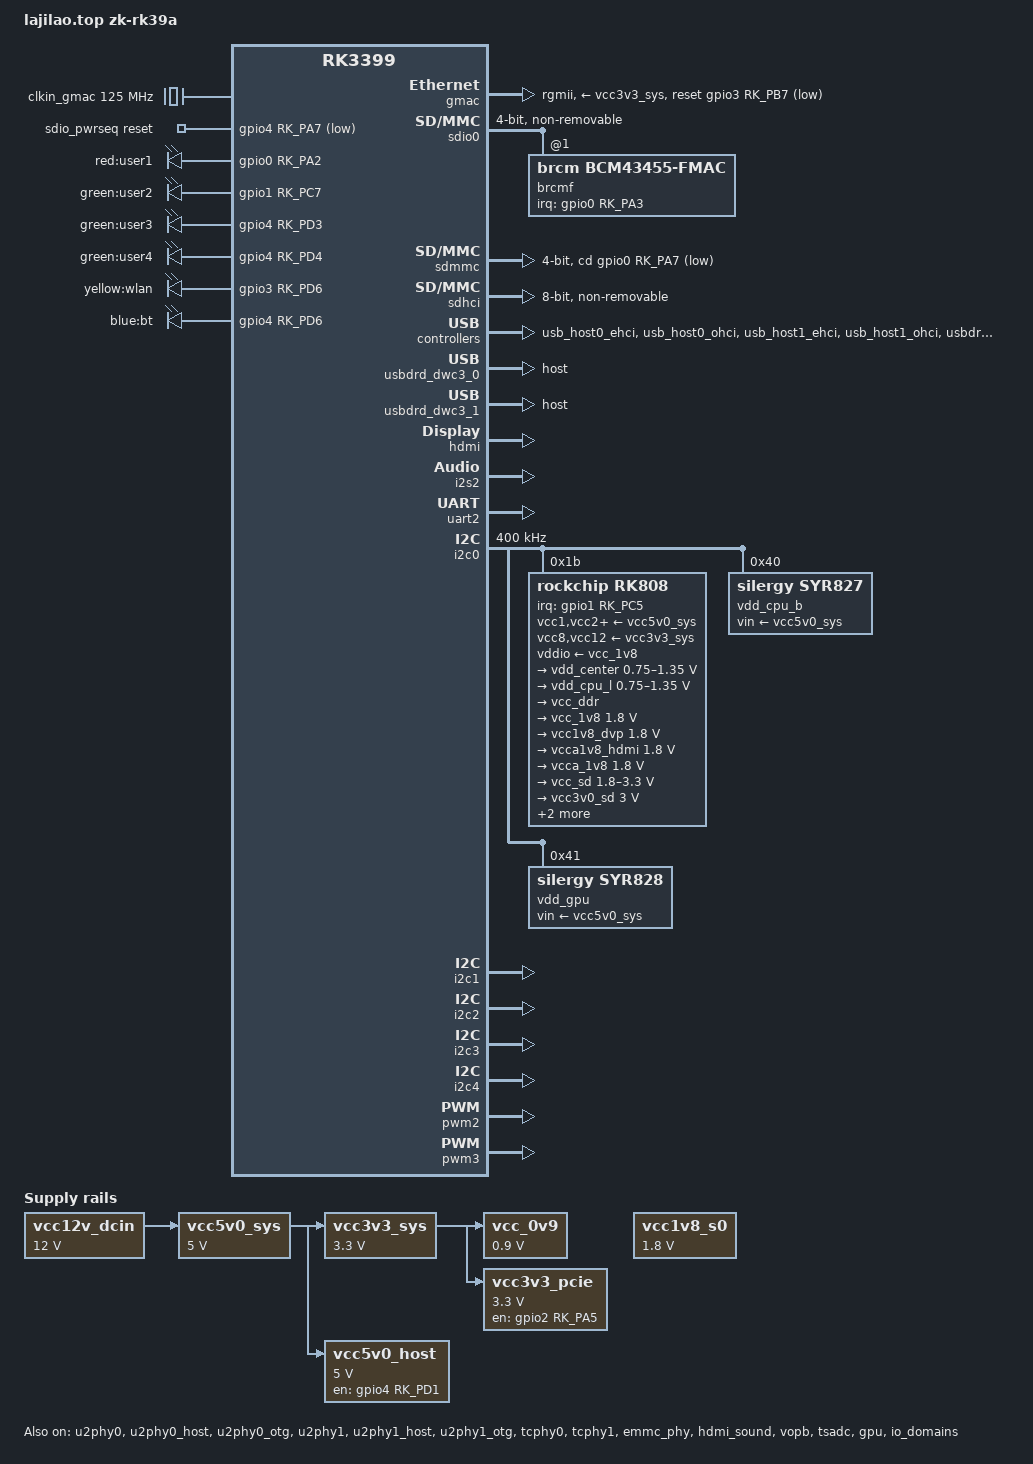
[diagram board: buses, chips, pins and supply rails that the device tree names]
// SPDX-License-Identifier: (GPL-2.0+ OR MIT)

/dts-v1/;
#include <dt-bindings/input/linux-event-codes.h>
#include <dt-bindings/pwm/pwm.h>
#include "rk3399.dtsi"

/ {
	model = "lajilao.top zk-rk39a";
	compatible = "lajilao.top,zk-rk39a", "rockchip,rk3399";

	aliases {
		ethernet0 = &gmac;
		mmc0 = &sdio0;
		mmc1 = &sdmmc;
		mmc2 = &sdhci;
	};

	chosen {
		stdout-path = "serial2:1500000n8";
	};

	clkin_gmac: external-gmac-clock {
		compatible = "fixed-clock";
		clock-frequency = <125000000>;
		clock-output-names = "clkin_gmac";
		#clock-cells = <0>;
	};

	sdio_pwrseq: sdio-pwrseq {
		compatible = "mmc-pwrseq-simple";
		clocks = <&rk808 1>;
		clock-names = "ext_clock";
		pinctrl-names = "default";
		pinctrl-0 = <&wifi_enable_h>;
		reset-gpios = <&gpio4 RK_PA7 GPIO_ACTIVE_LOW>;
	};

	vcc12v_dcin: regulator-vcc12v-dcin {
		compatible = "regulator-fixed";
		regulator-name = "vcc12v_dcin";
		regulator-min-microvolt = <12000000>;
		regulator-max-microvolt = <12000000>;
		regulator-always-on;
		regulator-boot-on;
	};

	vcc5v0_sys: regulator-vcc5v0-sys {
		compatible = "regulator-fixed";
		regulator-name = "vcc5v0_sys";
		regulator-min-microvolt = <5000000>;
		regulator-max-microvolt = <5000000>;
		regulator-always-on;
		regulator-boot-on;
		vin-supply = <&vcc12v_dcin>;
	};

	vcc3v3_sys: regulator-vcc3v3-sys {
		compatible = "regulator-fixed";
		regulator-name = "vcc3v3_sys";
		regulator-min-microvolt = <3300000>;
		regulator-max-microvolt = <3300000>;
		regulator-always-on;
		regulator-boot-on;
		vin-supply = <&vcc5v0_sys>;
	};

	vcc_0v9: regulator-vcc-0v9 {
		compatible = "regulator-fixed";
		regulator-name = "vcc_0v9";
		regulator-min-microvolt = <900000>;
		regulator-max-microvolt = <900000>;
		regulator-always-on;
		vin-supply = <&vcc3v3_sys>;
	};

	vcc1v8_s0: regulator-vcc1v8-s0 {
		compatible = "regulator-fixed";
		regulator-name = "vcc1v8_s0";
		regulator-min-microvolt = <1800000>;
		regulator-max-microvolt = <1800000>;
		regulator-always-on;
	};

	vcc3v3_pcie: regulator-vcc3v3-pcie {
		compatible = "regulator-fixed";
		enable-active-high;
		gpio = <&gpio2 RK_PA5 GPIO_ACTIVE_HIGH>;
		pinctrl-names = "default";
		pinctrl-0 = <&pcie_drv>;
		regulator-boot-on;
		regulator-name = "vcc3v3_pcie";
		regulator-min-microvolt = <3300000>;
		regulator-max-microvolt = <3300000>;
		vin-supply = <&vcc3v3_sys>;
	};

	vcc5v0_host: regulator-vcc5v0-host {
		compatible = "regulator-fixed";
		enable-active-high;
		gpio = <&gpio4 RK_PD1 GPIO_ACTIVE_HIGH>;
		pinctrl-names = "default";
		pinctrl-0 = <&host_vbus_drv>;
		regulator-name = "vcc5v0_host";
		regulator-min-microvolt = <5000000>;
		regulator-max-microvolt = <5000000>;
		regulator-always-on;
		vin-supply = <&vcc5v0_sys>;
	};

	leds: gpio-leds {
		compatible = "gpio-leds";
		pinctrl-names = "default";
		pinctrl-0 = <&user_led1_pin>, <&user_led2_pin>,
			    <&user_led3_pin>, <&user_led4_pin>,
			    <&wlan_led_pin>, <&bt_led_pin>;

		user_led1: led-0 {
			label = "red:user1";
			gpios = <&gpio0 RK_PA2 GPIO_ACTIVE_HIGH>;
			linux,default-trigger = "none";
			default-state = "on";
		};

		user_led2: led-1 {
			label = "green:user2";
			gpios = <&gpio1 RK_PC7 GPIO_ACTIVE_HIGH>;
			linux,default-trigger = "activity";
		};

		user_led3: led-2 {
			label = "green:user3";
			gpios = <&gpio4 RK_PD3 GPIO_ACTIVE_HIGH>;
			linux,default-trigger = "none";
			default-state = "on";
		};

		user_led4: led-3 {
			label = "green:user4";
			gpios = <&gpio4 RK_PD4 GPIO_ACTIVE_HIGH>;
			linux,default-trigger = "none";
			default-state = "on";
		};

		wlan_active_led: led-4 {
			label = "yellow:wlan";
			gpios = <&gpio3 RK_PD6 GPIO_ACTIVE_HIGH>;
			linux,default-trigger = "none";
			default-state = "on";
		};

		bt_active_led: led-5 {
			label = "blue:bt";
			gpios = <&gpio4 RK_PD6 GPIO_ACTIVE_HIGH>;
			linux,default-trigger = "hci0-power";
			default-state = "off";
		};
	};
};

/* GMAC: RGMII, external clock input, RTL8211 PHY */
&gmac {
	assigned-clocks = <&cru SCLK_RMII_SRC>;
	assigned-clock-parents = <&clkin_gmac>;
	clock_in_out = "input";
	phy-supply = <&vcc3v3_sys>;
	phy-mode = "rgmii";
	pinctrl-names = "default";
	pinctrl-0 = <&rgmii_pins>;
	snps,reset-gpio = <&gpio3 RK_PB7 GPIO_ACTIVE_LOW>;
	snps,reset-active-low;
	snps,reset-delays-us = <0 10000 50000>;
	tx_delay = <0x20>;
	rx_delay = <0x22>;
	status = "okay";
};

/* SDIO0 (fe310000): WiFi - brcm43455, non-removable, 4-bit bus */
&sdio0 {
	bus-width = <4>;
	clock-frequency = <50000000>;
	cap-sdio-irq;
	cap-sd-highspeed;
	keep-power-in-suspend;
	mmc-pwrseq = <&sdio_pwrseq>;
	non-removable;
	pinctrl-names = "default";
	pinctrl-0 = <&sdio0_bus4>, <&sdio0_cmd>, <&sdio0_clk>;
	sd-uhs-sdr104;
	#address-cells = <1>;
	#size-cells = <0>;
	status = "okay";

	brcmf: wifi@1 {
		compatible = "brcm,bcm43455-fmac";
		reg = <1>;
		interrupt-parent = <&gpio0>;
		interrupts = <RK_PA3 IRQ_TYPE_LEVEL_HIGH>;
		interrupt-names = "host-wake";
		pinctrl-names = "default";
		pinctrl-0 = <&wifi_host_wake_l>;
	};
};

/* SDMMC (fe320000): SD card slot, 4-bit bus, cd-gpio */
&sdmmc {
	bus-width = <4>;
	cap-mmc-highspeed;
	cap-sd-highspeed;
	clock-frequency = <100000000>;
	cd-gpios = <&gpio0 RK_PA7 GPIO_ACTIVE_LOW>;
	disable-wp;
	sd-uhs-sdr104;
	vqmmc-supply = <&vcc_sd>;
	card-detect-delay = <800>;
	pinctrl-names = "default";
	pinctrl-0 = <&sdmmc_clk>, <&sdmmc_cmd>, <&sdmmc_cd>, <&sdmmc_bus4>;
	status = "okay";
};

/* eMMC (fe330000): onboard eMMC, 8-bit, HS400 */
&sdhci {
	bus-width = <8>;
	mmc-hs400-1_8v;
	mmc-hs400-enhanced-strobe;
	non-removable;
	status = "okay";
};

/* USB2 Host (fe380000 / fe3a0000): EHCI+OHCI pair 0 */
&usb_host0_ehci {
	status = "okay";
};

&usb_host0_ohci {
	status = "okay";
};

/* USB2 Host (fe3c0000 / fe3e0000): EHCI+OHCI pair 1 */
&usb_host1_ehci {
	status = "okay";
};

&usb_host1_ohci {
	status = "okay";
};

/* USB3 OTG0 (fe800000): host mode */
&usbdrd3_0 {
	status = "okay";
};

&usbdrd_dwc3_0 {
	dr_mode = "host";
	status = "okay";
};

/* USB3 OTG1 (fe900000): host mode */
&usbdrd3_1 {
	status = "okay";
};

&usbdrd_dwc3_1 {
	dr_mode = "host";
	status = "okay";
};

/* USB2 PHY0: host-port and otg-port both enabled */
&u2phy0 {
	status = "okay";
};

&u2phy0_host {
	phy-supply = <&vcc5v0_host>;
	status = "okay";
};

&u2phy0_otg {
	status = "okay";
};

/* USB2 PHY1: host-port and otg-port both enabled */
&u2phy1 {
	status = "okay";
};

&u2phy1_host {
	phy-supply = <&vcc5v0_host>;
	status = "okay";
};

&u2phy1_otg {
	status = "okay";
};

/* TypeC PHY0 (ff7c0000): USB3 + DP */
&tcphy0 {
	status = "okay";
};

/* TypeC PHY1 (ff800000): USB3 + DP */
&tcphy1 {
	status = "okay";
};

/* eMMC PHY */
&emmc_phy {
	status = "okay";
};

/* HDMI (ff940000): connected to VOP-Big, DDC via i2c3, CEC pinctrl */
&hdmi {
	avdd-0v9-supply = <&vcca0v9_hdmi>;
	avdd-1v8-supply = <&vcca1v8_hdmi>;
	ddc-i2c-bus = <&i2c3>;
	pinctrl-names = "default";
	pinctrl-0 = <&hdmi_cec>;
	status = "okay";
};

&hdmi_sound {
	status = "okay";
};

/* VOP-Big: used for HDMI output */
&vopb {
	status = "okay";
};

&vopb_mmu {
	status = "okay";
};

/* VOP-Lit: disabled, only big vop active */
&vopl {
	status = "disabled";
};

&vopl_mmu {
	status = "disabled";
};

/* Display subsystem ports are wired in rk3399-base.dtsi */

/* I2S2 (ff8a0000): HDMI audio */
&i2s2 {
	status = "okay";
};

/* TSADC: tshut via GPIO, polarity high */
&tsadc {
	rockchip,hw-tshut-mode = <1>;
	rockchip,hw-tshut-polarity = <1>;
	status = "okay";
};

/* GPU */
&gpu {
	mali-supply = <&vdd_gpu>;
	status = "okay";
};

/* UART2 (ff1a0000): debug console, pinctrl-0 = uart2c */
&uart2 {
	pinctrl-0 = <&uart2c_xfer>;
	status = "okay";
};

/* UART0 (ff180000): Bluetooth (bcm4345c5) */
&uart0 {
	pinctrl-names = "default";
	pinctrl-0 = <&uart0_xfer>, <&uart0_cts>, <&uart0_rts>;
	status = "disabled";

	bluetooth {
		compatible = "brcm,bcm4345c5";
		clocks = <&rk808 1>;
		clock-names = "ext_clock";
		device-wakeup-gpios = <&gpio2 RK_PD3 GPIO_ACTIVE_HIGH>;
		host-wakeup-gpios = <&gpio0 RK_PA4 GPIO_ACTIVE_HIGH>;
		shutdown-gpios = <&gpio0 RK_PB1 GPIO_ACTIVE_HIGH>;
		max-speed = <1500000>;
		pinctrl-names = "default";
		pinctrl-0 = <&bt_host_wake_l>, <&bt_wake_l>, <&bt_enable_h>;
	};
};

/* I2C0 (ff3c0000): PMIC + SYR827 + SYR828 */
&i2c0 {
	clock-frequency = <400000>;
	i2c-scl-rising-time-ns = <168>;
	i2c-scl-falling-time-ns = <4>;
	status = "okay";

	rk808: pmic@1b {
		compatible = "rockchip,rk808";
		reg = <0x1b>;
		interrupt-parent = <&gpio1>;
		interrupts = <RK_PC5 IRQ_TYPE_LEVEL_LOW>;
		pinctrl-names = "default";
		pinctrl-0 = <&pmic_int_l>;
		rockchip,system-power-controller;
		wakeup-source;
		#clock-cells = <1>;
		clock-output-names = "xin32k", "rk808-clkout2";

		vcc1-supply = <&vcc5v0_sys>;
		vcc2-supply = <&vcc5v0_sys>;
		vcc3-supply = <&vcc5v0_sys>;
		vcc4-supply = <&vcc5v0_sys>;
		vcc6-supply = <&vcc5v0_sys>;
		vcc7-supply = <&vcc5v0_sys>;
		vcc8-supply = <&vcc3v3_sys>;
		vcc9-supply = <&vcc5v0_sys>;
		vcc10-supply = <&vcc5v0_sys>;
		vcc11-supply = <&vcc5v0_sys>;
		vcc12-supply = <&vcc3v3_sys>;
		vddio-supply = <&vcc_1v8>;

		regulators {
			vdd_center: DCDC_REG1 {
				regulator-name = "vdd_center";
				regulator-min-microvolt = <750000>;
				regulator-max-microvolt = <1350000>;
				regulator-always-on;
				regulator-boot-on;
				regulator-state-mem {
					regulator-off-in-suspend;
				};
			};

			vdd_cpu_l: DCDC_REG2 {
				regulator-name = "vdd_cpu_l";
				regulator-min-microvolt = <750000>;
				regulator-max-microvolt = <1350000>;
				regulator-always-on;
				regulator-boot-on;
				regulator-state-mem {
					regulator-off-in-suspend;
				};
			};

			vcc_ddr: DCDC_REG3 {
				regulator-name = "vcc_ddr";
				regulator-always-on;
				regulator-boot-on;
				regulator-state-mem {
					regulator-on-in-suspend;
				};
			};

			vcc_1v8: DCDC_REG4 {
				regulator-name = "vcc_1v8";
				regulator-min-microvolt = <1800000>;
				regulator-max-microvolt = <1800000>;
				regulator-always-on;
				regulator-boot-on;
				regulator-state-mem {
					regulator-on-in-suspend;
					regulator-suspend-microvolt = <1800000>;
				};
			};

			vcc1v8_dvp: LDO_REG1 {
				regulator-name = "vcc1v8_dvp";
				regulator-min-microvolt = <1800000>;
				regulator-max-microvolt = <1800000>;
				regulator-always-on;
				regulator-boot-on;
				regulator-state-mem {
					regulator-on-in-suspend;
					regulator-suspend-microvolt = <1800000>;
				};
			};

			vcca1v8_hdmi: LDO_REG2 {
				regulator-name = "vcca1v8_hdmi";
				regulator-min-microvolt = <1800000>;
				regulator-max-microvolt = <1800000>;
				regulator-always-on;
				regulator-boot-on;
				regulator-state-mem {
					regulator-on-in-suspend;
					regulator-suspend-microvolt = <1800000>;
				};
			};

			vcca_1v8: LDO_REG3 {
				regulator-name = "vcca_1v8";
				regulator-min-microvolt = <1800000>;
				regulator-max-microvolt = <1800000>;
				regulator-always-on;
				regulator-boot-on;
				regulator-state-mem {
					regulator-on-in-suspend;
					regulator-suspend-microvolt = <1800000>;
				};
			};

			vcc_sd: LDO_REG4 {
				regulator-name = "vcc_sd";
				regulator-min-microvolt = <1800000>;
				regulator-max-microvolt = <3300000>;
				regulator-always-on;
				regulator-boot-on;
				regulator-state-mem {
					regulator-on-in-suspend;
					regulator-suspend-microvolt = <3300000>;
				};
			};

			vcc3v0_sd: LDO_REG5 {
				regulator-name = "vcc3v0_sd";
				regulator-min-microvolt = <3000000>;
				regulator-max-microvolt = <3000000>;
				regulator-always-on;
				regulator-boot-on;
				regulator-state-mem {
					regulator-on-in-suspend;
					regulator-suspend-microvolt = <3000000>;
				};
			};

			vcc_1v5: LDO_REG6 {
				regulator-name = "vcc_1v5";
				regulator-min-microvolt = <1500000>;
				regulator-max-microvolt = <1500000>;
				regulator-always-on;
				regulator-boot-on;
				regulator-state-mem {
					regulator-on-in-suspend;
					regulator-suspend-microvolt = <1500000>;
				};
			};

			vcca0v9_hdmi: LDO_REG7 {
				regulator-name = "vcca0v9_hdmi";
				regulator-min-microvolt = <900000>;
				regulator-max-microvolt = <900000>;
				regulator-always-on;
				regulator-boot-on;
				regulator-state-mem {
					regulator-on-in-suspend;
					regulator-suspend-microvolt = <900000>;
				};
			};

			vcc_3v0: LDO_REG8 {
				regulator-name = "vcc_3v0";
				regulator-min-microvolt = <3000000>;
				regulator-max-microvolt = <3000000>;
				regulator-always-on;
				regulator-boot-on;
				regulator-state-mem {
					regulator-on-in-suspend;
					regulator-suspend-microvolt = <3000000>;
				};
			};

			vcc3v3_s3: SWITCH_REG1 {
				regulator-name = "vcc3v3_s3";
				regulator-always-on;
				regulator-boot-on;
				regulator-state-mem {
					regulator-on-in-suspend;
				};
			};

			vcc3v3_s0: SWITCH_REG2 {
				regulator-name = "vcc3v3_s0";
				regulator-always-on;
				regulator-boot-on;
				regulator-state-mem {
					regulator-on-in-suspend;
				};
			};
		};
	};

	vdd_cpu_b: regulator@40 {
		compatible = "silergy,syr827";
		reg = <0x40>;
		fcs,suspend-voltage-selector = <1>;
		regulator-name = "vdd_cpu_b";
		regulator-min-microvolt = <712500>;
		regulator-max-microvolt = <1500000>;
		regulator-ramp-delay = <1000>;
		regulator-always-on;
		regulator-boot-on;
		vin-supply = <&vcc5v0_sys>;
		status = "okay";

		regulator-state-mem {
			regulator-off-in-suspend;
		};
	};

	vdd_gpu: regulator@41 {
		compatible = "silergy,syr828";
		reg = <0x41>;
		fcs,suspend-voltage-selector = <1>;
		regulator-name = "vdd_gpu";
		regulator-min-microvolt = <712500>;
		regulator-max-microvolt = <1500000>;
		regulator-ramp-delay = <1000>;
		regulator-always-on;
		regulator-boot-on;
		vin-supply = <&vcc5v0_sys>;

		regulator-state-mem {
			regulator-off-in-suspend;
		};
	};
};

/* I2C1 (ff110000): enabled */
&i2c1 {
	status = "okay";
};

/* I2C2 (ff120000): enabled */
&i2c2 {
	status = "okay";
};

/* I2C3 (ff130000): enabled, used for HDMI DDC */
&i2c3 {
	status = "okay";
};

/* I2C4 (ff3d0000): enabled */
&i2c4 {
	status = "okay";
};

/* PMU IO domains */
&pmu_io_domains {
	pmu1830-supply = <&vcc_1v8>;
	status = "okay";
};

/* IO domains */
&io_domains {
	bt656-supply = <&vcc1v8_s0>;
	audio-supply = <&vcc1v8_s0>;
	sdmmc-supply = <&vcc_sd>;
	gpio1830-supply = <&vcc_3v0>;
	status = "okay";
};

/* PWM2 (ff420020): enabled (fan or IR) */
&pwm2 {
	status = "okay";
};

/* PWM3 (ff420030): enabled */
&pwm3 {
	status = "okay";
};

/* PCIe: pinctrl, vpcie regulators, ep-gpio */
&pcie0 {
	ep-gpios = <&gpio2 RK_PA2 GPIO_ACTIVE_HIGH>;
	num-lanes = <4>;
	max-link-speed = <1>;
	pinctrl-names = "default";
	pinctrl-0 = <&pci_clkreqn_cpm>;
	vpcie0v9-supply = <&vcc_0v9>;
	vpcie1v8-supply = <&vcca_1v8>;
	vpcie3v3-supply = <&vcc3v3_pcie>;
	status = "disabled";
};

&pinctrl {
	sdio-pwrseq {
		wifi_enable_h: wifi-enable-h {
			rockchip,pins = <0 RK_PB2 RK_FUNC_GPIO &pcfg_pull_none>;
		};
	};

	wifi {
		wifi_host_wake_l: wifi-host-wake-l {
			rockchip,pins = <0 RK_PA3 RK_FUNC_GPIO &pcfg_pull_none>;
		};
	};

	bt {
		bt_enable_h: bt-enable-h {
			rockchip,pins = <0 RK_PB1 RK_FUNC_GPIO &pcfg_pull_none>;
		};

		bt_host_wake_l: bt-host-wake-l {
			rockchip,pins = <0 RK_PA4 RK_FUNC_GPIO &pcfg_pull_none>;
		};

		bt_wake_l: bt-wake-l {
			rockchip,pins = <2 RK_PD3 RK_FUNC_GPIO &pcfg_pull_none>;
		};
	};

	pmic {
		pmic_int_l: pmic-int-l {
			rockchip,pins = <1 RK_PC5 RK_FUNC_GPIO &pcfg_pull_up>;
		};
	};

	leds {
		user_led1_pin: user-led1 {
			rockchip,pins = <0 RK_PA2 RK_FUNC_GPIO &pcfg_pull_none>;
		};

		user_led2_pin: user-led2 {
			rockchip,pins = <1 RK_PC7 RK_FUNC_GPIO &pcfg_pull_none>;
		};

		user_led3_pin: user-led3 {
			rockchip,pins = <4 RK_PD3 RK_FUNC_GPIO &pcfg_pull_none>;
		};

		user_led4_pin: user-led4 {
			rockchip,pins = <4 RK_PD4 RK_FUNC_GPIO &pcfg_pull_none>;
		};

		wlan_led_pin: wlan-led {
			rockchip,pins = <3 RK_PD6 RK_FUNC_GPIO &pcfg_pull_none>;
		};

		bt_led_pin: bt-led {
			rockchip,pins = <4 RK_PD6 RK_FUNC_GPIO &pcfg_pull_none>;
		};
	};

	usb2 {
		host_vbus_drv: host-vbus-drv {
			rockchip,pins = <4 RK_PD1 RK_FUNC_GPIO &pcfg_pull_none>;
		};
	};

	pcie {
		pci_clkreqn_cpm: pci-clkreqn-cpm {
			rockchip,pins = <2 RK_PD2 RK_FUNC_GPIO &pcfg_pull_none>;
		};

		pcie_drv: pcie-drv {
			rockchip,pins = <2 RK_PA5 RK_FUNC_GPIO &pcfg_pull_none>;
		};
	};
};
